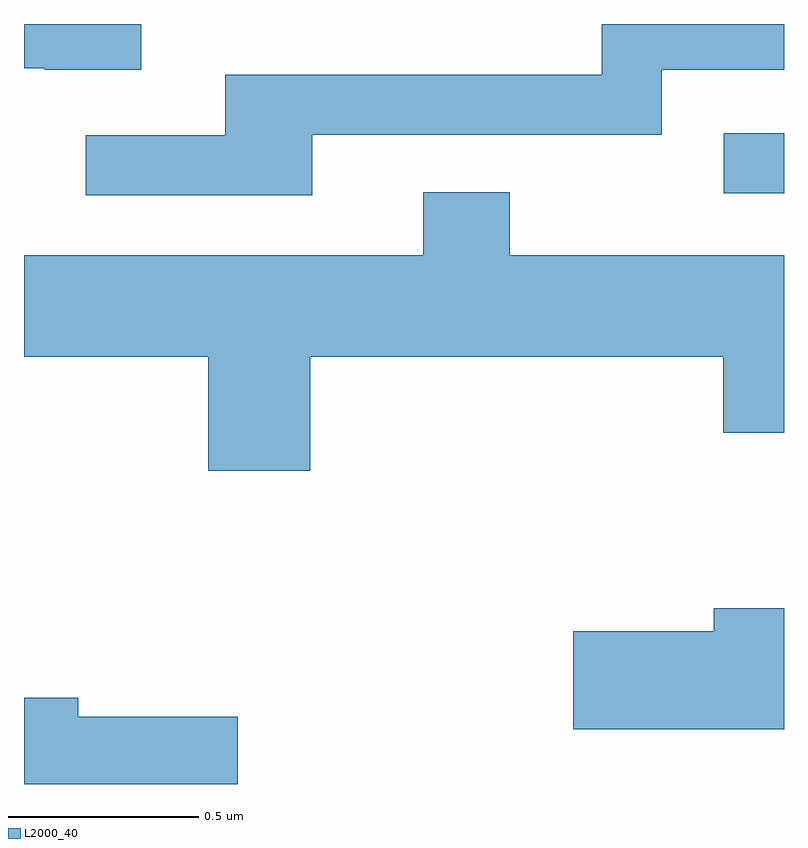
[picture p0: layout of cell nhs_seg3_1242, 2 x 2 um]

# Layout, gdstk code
import gdstk
lib = gdstk.Library(unit=1e-6, precision=1e-09)
def R(c, l, rs):  # rectangles x0, y0, x1, y1
    for r in rs: c.add(gdstk.rectangle(r[:2], r[2:], *l))
def P(c, l, *ps):  # polygons
    for p in ps: c.add(gdstk.Polygon(p, *l))
L2000_40 = (2000, 40)

nhs_seg3_1242 = lib.new_cell('nhs_seg3_1242')
R(nhs_seg3_1242, L2000_40, [(196.453,1126.446,196.611,1126.604)])
P(nhs_seg3_1242, L2000_40, [(195.369,1126.601),(196.289,1126.601),(196.289,1126.771),(196.611,1126.771),(196.611,1126.892),(196.131,1126.892),(196.131,1126.759),(195.141,1126.759),(195.141,1126.599),(194.773,1126.599),(194.773,1126.441),(195.369,1126.441)],
  [(194.919,1126.892),(194.611,1126.892),(194.611,1126.776),(194.665,1126.776),(194.665,1126.771),(194.919,1126.771)],
  [(195.364,1126.016),(196.451,1126.016),(196.451,1125.816),(196.611,1125.816),(196.611,1126.284),(195.889,1126.284),(195.889,1126.449),(195.661,1126.449),(195.661,1126.284),(194.611,1126.284),(194.611,1126.016),(195.096,1126.016),(195.096,1125.716),(195.364,1125.716)],
  [(196.611,1125.354),(196.426,1125.354),(196.426,1125.294),(196.056,1125.294),(196.056,1125.036),(196.611,1125.036)],
  [(195.174,1125.069),(194.754,1125.069),(194.754,1125.119),(194.611,1125.119),(194.611,1124.892),(195.174,1124.892)])

lib.write_gds('nhs_seg3_1242.gds')
